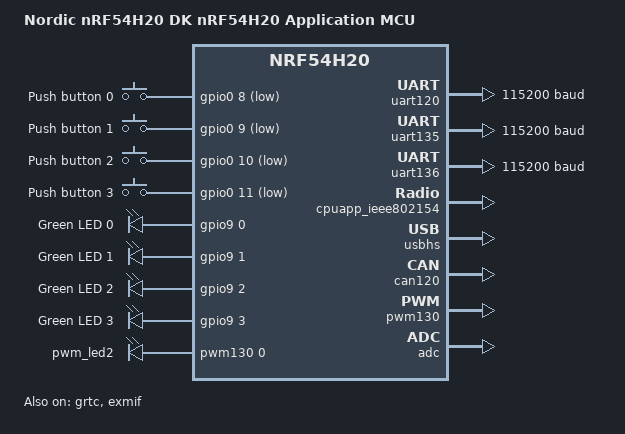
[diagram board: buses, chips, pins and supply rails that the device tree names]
/*
 * Copyright (c) 2024 Nordic Semiconductor ASA
 *
 * SPDX-License-Identifier: Apache-2.0
 */

/dts-v1/;

#include <nordic/nrf54h20_cpuapp.dtsi>
#include "nrf54h20dk_nrf54h20-common.dtsi"

/delete-node/ &cpurad_cpusys_ipc;
/delete-node/ &cpusec_cpurad_ipc;

/ {
	compatible = "nordic,nrf54h20dk_nrf54h20-cpuapp";
	model = "Nordic nRF54H20 DK nRF54H20 Application MCU";

	chosen {
		zephyr,console = &uart136;
		zephyr,code-partition = &cpuapp_slot0_partition;
		zephyr,flash = &mram1x;
		zephyr,sram = &cpuapp_data;
		zephyr,shell-uart = &uart136;
		zephyr,ieee802154 = &cpuapp_ieee802154;
		zephyr,bt-hci = &bt_hci_ipc0;
		nordic,802154-spinel-ipc = &ipc0;
		zephyr,canbus = &can120;
	};

	aliases {
		led0 = &led0;
		led1 = &led1;
		led2 = &led2;
		led3 = &led3;
		resetinfo = &cpuapp_resetinfo;
		pwm-led0 = &pwm_led2;
		sw0 = &button0;
		sw1 = &button1;
		sw2 = &button2;
		sw3 = &button3;
		ipc-to-cpusys = &cpuapp_cpusys_ipc;
		watchdog0 = &wdt010;
	};

	buttons {
		compatible = "gpio-keys";

		button0: button_0 {
			gpios = <&gpio0 8 (GPIO_PULL_UP | GPIO_ACTIVE_LOW)>;
			label = "Push button 0";
			zephyr,code = <INPUT_KEY_0>;
		};

		button1: button_1 {
			gpios = <&gpio0 9 (GPIO_PULL_UP | GPIO_ACTIVE_LOW)>;
			label = "Push button 1";
			zephyr,code = <INPUT_KEY_1>;
		};

		button2: button_2 {
			gpios = <&gpio0 10 (GPIO_PULL_UP | GPIO_ACTIVE_LOW)>;
			label = "Push button 2";
			zephyr,code = <INPUT_KEY_2>;
		};

		button3: button_3 {
			gpios = <&gpio0 11 (GPIO_PULL_UP | GPIO_ACTIVE_LOW)>;
			label = "Push button 3";
			zephyr,code = <INPUT_KEY_3>;
		};
	};

	leds {
		compatible = "gpio-leds";

		led0: led_0 {
			gpios = <&gpio9 0 GPIO_ACTIVE_HIGH>;
			label = "Green LED 0";
		};

		led1: led_1 {
			gpios = <&gpio9 1 GPIO_ACTIVE_HIGH>;
			label = "Green LED 1";
		};

		led2: led_2 {
			gpios = <&gpio9 2 GPIO_ACTIVE_HIGH>;
			label = "Green LED 2";
		};

		led3: led_3 {
			gpios = <&gpio9 3 GPIO_ACTIVE_HIGH>;
			label = "Green LED 3";
		};
	};

	pwmleds {
		compatible = "pwm-leds";
		/*
		 * LEDs are connected to GPIO Port 9 - pins 0-3. There is no valid hardware
		 * configuration to pass PWM signal on pis 0 and 1. First valid config is P9.2.
		 * Signal on PWM130's channel 0 can be passed directly on GPIO Port 9 pin 2.
		 */
		pwm_led2: pwm_led_2 {
			pwms = <&pwm130 0 PWM_MSEC(20) PWM_POLARITY_NORMAL>;
		};
	};
};

&cpuapp_ram0x_region {
	status = "okay";
};

&etr_buf_ram0x_region {
	status = "okay";
};

&ram21_region {
	status = "okay";
};

&cpuapp_bellboard {
	status = "okay";
	interrupts = <96 NRF_DEFAULT_IRQ_PRIORITY>;
	interrupt-names = "irq0";
	/* irq0:
	 *  - 0:  cpuapp-cpusec
	 *  - 6:  cpuapp-cpusys
	 *  - 13: cpuapp-cpuppr
	 *  - 14: cpuapp-cpuflpr
	 *  - 18: cpuapp-cpurad
	 */
	nordic,interrupt-mapping = <0x00046041 0>;
};

&cpurad_bellboard {
	status = "okay";
};

&cpusys_vevif {
	status = "okay";
};

&cpusec_cpuapp_ipc {
	mbox-names = "tx", "rx";
	tx-region = <&cpuapp_cpusec_ipc_shm>;
	rx-region = <&cpusec_cpuapp_ipc_shm>;
};

ipc0: &cpuapp_cpurad_ipc {
	status = "okay";
	mbox-names = "rx", "tx";
	tx-region = <&cpuapp_cpurad_ipc_shm>;
	rx-region = <&cpurad_cpuapp_ipc_shm>;
	tx-blocks = <32>;
	rx-blocks = <32>;

	bt_hci_ipc0: bt_hci_ipc0 {
		compatible = "zephyr,bt-hci-ipc";
		status = "okay";
	};
};

&cpuapp_cpusys_ipc {
	status = "okay";
	mbox-names = "rx", "tx";
	tx-region = <&cpuapp_cpusys_ipc_shm>;
	rx-region = <&cpusys_cpuapp_ipc_shm>;
};

&cpuapp_cpuppr_ipc {
	mbox-names = "rx", "tx";
	tx-region = <&cpuapp_cpuppr_ipc_shm>;
	rx-region = <&cpuppr_cpuapp_ipc_shm>;
};

&cpuapp_cpuflpr_ipc {
	mbox-names = "rx", "tx";
	tx-region = <&cpuapp_cpuflpr_ipc_shm>;
	rx-region = <&cpuflpr_cpuapp_ipc_shm>;
};

&cpuapp_dma_region {
	status = "okay";
};

&cpuapp_rx_partitions {
	status = "okay";
};

&cpuapp_rw_partitions {
	status = "okay";
};

&cpuppr_vpr {
	execution-memory = <&cpuppr_code_data>;
	source-memory = <&cpuppr_code_partition>;
};

&cpuflpr_vpr {
	execution-memory = <&cpuflpr_code_data>;
	source-memory = <&cpuflpr_code_partition>;
};

&gpiote130 {
	status = "okay";
	owned-channels = <0 1 2 3 4 5 6 7>;
};

&gpio0 {
	status = "okay";
};

&gpio9 {
	status = "okay";
};

&grtc {
	status = "okay";
	child-owned-channels = <5 6>;
	nonsecure-channels = <5 6>;
	owned-channels = <4 5 6>;
};

&uart120 {
	current-speed = <115200>;
	pinctrl-0 = <&uart120_default>;
	pinctrl-1 = <&uart120_sleep>;
	pinctrl-names = "default", "sleep";
};

&uart135 {
	current-speed = <115200>;
	pinctrl-0 = <&uart135_default>;
	pinctrl-1 = <&uart135_sleep>;
	pinctrl-names = "default", "sleep";
};

&uart136 {
	status = "okay";
	memory-regions = <&cpuapp_dma_region>;
	current-speed = <115200>;
	pinctrl-0 = <&uart136_default>;
	pinctrl-1 = <&uart136_sleep>;
	pinctrl-names = "default", "sleep";
};

&gpio6 {
	status = "okay";
};

&exmif {
	cs-gpios = <&gpio6 3 GPIO_ACTIVE_LOW>;
	pinctrl-0 = <&exmif_default>;
	pinctrl-names = "default";
	status = "okay";
	mx25uw63: mx25uw6345g@0 {
		compatible = "jedec,spi-nor";
		status = "disabled";
		reg = <0>;
		spi-max-frequency = <DT_FREQ_M(48)>;
		jedec-id = [c2 84 37];
		sfdp-bfp = [
			e5 20 8a ff  ff ff ff 03  00 ff 00 ff  00 ff 00 ff
			ee ff ff ff  ff ff 00 ff  ff ff 00 ff  0c 20 10 d8
			00 ff 00 ff  87 79 01 00  84 12 00 c4  cc 04 67 46
			30 b0 30 b0  f4 bd d5 5c  00 00 00 ff  10 10 00 20
			00 00 00 00  00 00 7c 23  48 00 00 00  00 00 88 88
		];
		size = <67108864>;
		has-dpd;
		t-enter-dpd = <10000>;
		t-exit-dpd = <30000>;
	};
};

&cpuapp_ieee802154 {
	status = "okay";
};

zephyr_udc0: &usbhs {
	status = "okay";
};

&canpll {
	status = "okay";
};

&can120 {
	status = "okay";
	pinctrl-0 = <&can120_default>;
	pinctrl-names = "default";
};

&pwm130 {
	status = "okay";
	pinctrl-0 = <&pwm130_default>;
	pinctrl-1 = <&pwm130_sleep>;
	pinctrl-names = "default", "sleep";
	memory-regions = <&cpuapp_dma_region>;
};

&adc {
	memory-regions = <&cpuapp_dma_region>;
	status = "okay";
};
